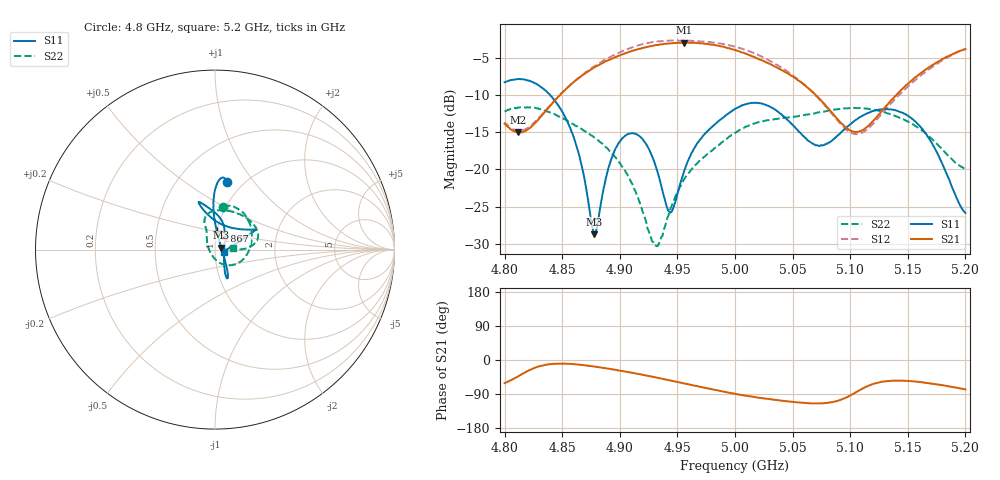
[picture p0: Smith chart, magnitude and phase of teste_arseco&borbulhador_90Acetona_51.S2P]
! Network Analyzer HP8722D
! Hewlett-Packard
! Data name: Linha & Wilkinson
! Saver's name: Rodrigo Anjos
! Comments: Teste da utilização de aquisição
! continua pelo VNA HP8722D
! Time and date: 17/4/2025 11:28
!  Frequency  S11  S21  S12  S22
# HZ  S  MA R 50
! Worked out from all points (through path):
!   401 points, 4.8 GHz to 5.2 GHz, reference 50 ohm
!   highest |S21| = -2.97 dB at 4.956 GHz (marker M1); lowest = -15.0 dB at 4.812 GHz (marker M2)
!   lowest |S11| = -28.7 dB at 4.878 GHz (marker M3), VSWR 1.08, Z = 53.6 + j1.2 ohm
!   |S11| at or under -10 dB: 4.839 GHz to end of sweep
!   |S22| runs from -30.3 to -11.7 dB; largest |S21 - S12| = 1.4
!   S11 on the Smith chart (normalised r, x): 4.8 GHz: 0.84, +0.75; 4.867 GHz: 1.00, +0.21; 5.2 GHz: 1.10, -0.03
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4.8e9  0.3843 79.9  0.2025 -60.9  0.2074 74.1  0.2446 78.9
4.812e9  0.4043 83.4  0.1769 -42.6  0.1817 90.8  0.2597 68.2
4.845e9  0.2794 91.6  0.2976 -9.7  0.2996 123.0  0.2312 28.3
4.858e9  0.1806 91.2  0.3743 -10.6  0.3749 124.2  0.2036 9.5
4.867e9  0.1049 84.9  0.425 -13.2  0.4287 123.4  0.1863 -4.1
4.878e9  0.03668 17.7  0.4854 -17.4  0.4925 121.1  0.1632 -20.8
4.891e9  0.1074 -54.5  0.5434 -23.5  0.5645 117.0  0.1331 -39.1
4.904e9  0.1664 -64.6  0.5982 -30.0  0.6288 111.7  0.1002 -57.5
4.92e9  0.1586 -67.7  0.6523 -39.2  0.6949 103.0  0.05154 -90.4
4.929e9  0.1174 -63.4  0.6754 -44.6  0.7169 97.5  0.03246 -135.3
4.934e9  0.08893 -55.7  0.6849 -47.9  0.7254 94.2  0.03176 -172.6
4.944e9  0.0512 -1.2  0.7025 -54.1  0.7312 87.8  0.05466 141.6
4.956e9  0.09793 56.0  0.7101 -61.8  0.7311 80.2  0.08608 122.7
4.972e9  0.167 77.1  0.7007 -72.0  0.7222 69.8  0.1189 114.2
5e9  0.2542 103.1  0.6324 -89.3  0.6667 51.6  0.1759 109.7
5.029e9  0.2667 109.0  0.515 -102.8  0.5424 35.8  0.2139 93.2
5.067e9  0.1496 80.8  0.3327 -114.4  0.3323 26.3  0.2359 59.6
5.082e9  0.1517 53.4  0.2509 -112.4  0.2468 29.8  0.248 45.0
5.104e9  0.2122 31.8  0.1785 -86.7  0.1724 57.2  0.2581 26.7
5.134e9  0.2529 26.1  0.2815 -55.1  0.2691 91.0  0.2359 11.4
5.164e9  0.1806 21.6  0.4584 -59.4  0.4428 88.6  0.1784 2.6
5.2e9  0.05089 -16.9  0.6412 -77.7  0.6442 71.3  0.1002 4.4
